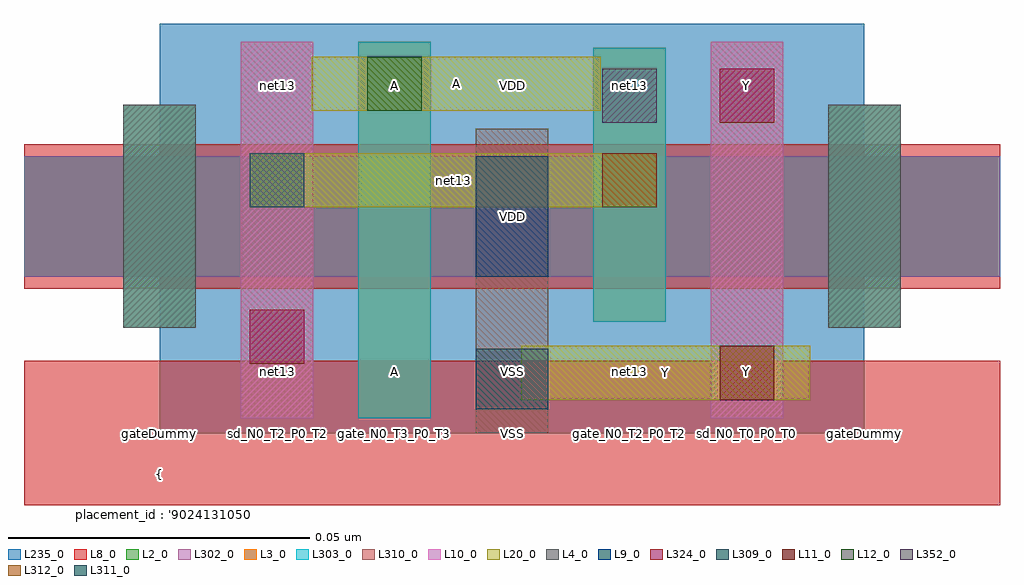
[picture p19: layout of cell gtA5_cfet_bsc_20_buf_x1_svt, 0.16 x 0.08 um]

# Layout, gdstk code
import gdstk
lib = gdstk.Library(unit=1e-6, precision=2.5e-10)
def R(c, l, rs):  # rectangles x0, y0, x1, y1
    for r in rs: c.add(gdstk.rectangle(r[:2], r[2:], *l))
L2_0 = (2, 0)
L3_0 = (3, 0)
L4_0 = (4, 0)
L8_0 = (8, 0)
L9_0 = (9, 0)
L10_0 = (10, 0)
L11_0 = (11, 0)
L12_0 = (12, 0)
L20_0 = (20, 0)
L235_0 = (235, 0)
L302_0 = (302, 0)
L303_0 = (303, 0)
L309_0 = (309, 0)
L310_0 = (310, 0)
L311_0 = (311, 0)
L312_0 = (312, 0)
L324_0 = (324, 0)
L352_0 = (352, 0)

gta5_cfet_bsc_20_buf_x1_ = lib.new_cell('gtA5_cfet_bsc_20_buf_x1_svt')
R(gta5_cfet_bsc_20_buf_x1_, L2_0, [(-0.0225,0.026,0.1395,0.046)])
R(gta5_cfet_bsc_20_buf_x1_, L3_0, [(0.033,0.0025,0.045,0.065), (-0.006,0.0175,0.006,0.0545), (0.111,0.0175,0.123,0.0545), (0.072,0.0185,0.084,0.064)])
R(gta5_cfet_bsc_20_buf_x1_, L4_0, [(-0.006,0.0175,0.006,0.0545), (0.111,0.0175,0.123,0.0545)])
R(gta5_cfet_bsc_20_buf_x1_, L8_0, [(-0.0225,-0.012,0.1395,0.012), (-0.0225,0.024,0.1395,0.048)])
R(gta5_cfet_bsc_20_buf_x1_, L9_0, [(0.0525,0.026,0.0645,0.046)])
R(gta5_cfet_bsc_20_buf_x1_, L10_0, [(0.0135,0.0025,0.0255,0.065), (0.0915,0.0025,0.1035,0.065)])
R(gta5_cfet_bsc_20_buf_x1_, L11_0, [(0.093,0.0055,0.102,0.0145)])
R(gta5_cfet_bsc_20_buf_x1_, L12_0, [(0.0345,0.0535,0.0435,0.0625)])
R(gta5_cfet_bsc_20_buf_x1_, L20_0, [(0.06,0.0055,0.108,0.0145), (0.015,0.0375,0.0825,0.0465), (0.0253,0.0535,0.0732,0.0625)])
R(gta5_cfet_bsc_20_buf_x1_, L235_0, [(0,0,0.117,0.068)])
R(gta5_cfet_bsc_20_buf_x1_, L302_0, [(-0.0225,0.026,0.1395,0.046)])
R(gta5_cfet_bsc_20_buf_x1_, L303_0, [(0.033,0.0025,0.045,0.065), (-0.006,0.0175,0.006,0.0545), (0.111,0.0175,0.123,0.0545), (0.072,0.0185,0.084,0.064)])
R(gta5_cfet_bsc_20_buf_x1_, L309_0, [(0.0525,0.004,0.0645,0.014)])
R(gta5_cfet_bsc_20_buf_x1_, L310_0, [(0.0525,0,0.0645,0.0505), (0.0135,0.0025,0.0255,0.065), (0.0915,0.0025,0.1035,0.065)])
R(gta5_cfet_bsc_20_buf_x1_, L311_0, [(0.015,0.0375,0.024,0.0465)])
R(gta5_cfet_bsc_20_buf_x1_, L312_0, [(0.0735,0.0375,0.0825,0.0465)])
R(gta5_cfet_bsc_20_buf_x1_, L324_0, [(0.015,0.0115,0.024,0.0205), (0.093,0.0515,0.102,0.0605)])
R(gta5_cfet_bsc_20_buf_x1_, L352_0, [(0.0735,0.0515,0.0825,0.0605)])
gta5_cfet_bsc_20_buf_x1_.add(gdstk.Label('net13', (0.0488,0.042), layer=100, texttype=100))
gta5_cfet_bsc_20_buf_x1_.add(gdstk.Label('gateDummy', (0,0), layer=103, texttype=103))
gta5_cfet_bsc_20_buf_x1_.add(gdstk.Label('sd_N0_T2_P0_T2', (0.0195,0), layer=103, texttype=103))
gta5_cfet_bsc_20_buf_x1_.add(gdstk.Label('gate_N0_T3_P0_T3', (0.039,0), layer=103, texttype=103))
gta5_cfet_bsc_20_buf_x1_.add(gdstk.Label('sd_N0_VSS_P0_VDD', (0.0585,0), layer=103, texttype=103))
gta5_cfet_bsc_20_buf_x1_.add(gdstk.Label('gate_N0_T2_P0_T2', (0.078,0), layer=103, texttype=103))
gta5_cfet_bsc_20_buf_x1_.add(gdstk.Label('sd_N0_T0_P0_T0', (0.0975,0), layer=103, texttype=103))
gta5_cfet_bsc_20_buf_x1_.add(gdstk.Label('gateDummy', (0.117,0), layer=103, texttype=103))
gta5_cfet_bsc_20_buf_x1_.add(gdstk.Label('}', (0,-0.0742), layer=104, texttype=104))
gta5_cfet_bsc_20_buf_x1_.add(gdstk.Label('  power : None', (0,-0.0675), layer=104, texttype=104))
gta5_cfet_bsc_20_buf_x1_.add(gdstk.Label('  performance : None', (0,-0.0607), layer=104, texttype=104))
gta5_cfet_bsc_20_buf_x1_.add(gdstk.Label("  solution_hash : '17394571517009305536'", (0,-0.054), layer=104, texttype=104))
gta5_cfet_bsc_20_buf_x1_.add(gdstk.Label('  number_m2 : 0', (0,-0.0473), layer=104, texttype=104))
gta5_cfet_bsc_20_buf_x1_.add(gdstk.Label('  number_m1 : 0', (0,-0.0405), layer=104, texttype=104))
gta5_cfet_bsc_20_buf_x1_.add(gdstk.Label('  number_m0cuts : 0', (0,-0.0338), layer=104, texttype=104))
gta5_cfet_bsc_20_buf_x1_.add(gdstk.Label('  number_m0 : 3', (0,-0.027), layer=104, texttype=104))
gta5_cfet_bsc_20_buf_x1_.add(gdstk.Label("  solution_number : '0000'", (0,-0.0203), layer=104, texttype=104))
gta5_cfet_bsc_20_buf_x1_.add(gdstk.Label("  placement_id : '9024131050041494301'", (0,-0.0135), layer=104, texttype=104))
gta5_cfet_bsc_20_buf_x1_.add(gdstk.Label('{', (0,-0.0067), layer=104, texttype=104))
gta5_cfet_bsc_20_buf_x1_.add(gdstk.Label('net13', (0.0195,0.0103), layer=105, texttype=105))
gta5_cfet_bsc_20_buf_x1_.add(gdstk.Label('A', (0.039,0.0103), layer=105, texttype=105))
gta5_cfet_bsc_20_buf_x1_.add(gdstk.Label('VSS', (0.0585,0.0103), layer=105, texttype=105))
gta5_cfet_bsc_20_buf_x1_.add(gdstk.Label('net13', (0.078,0.0103), layer=105, texttype=105))
gta5_cfet_bsc_20_buf_x1_.add(gdstk.Label('Y', (0.0975,0.0103), layer=105, texttype=105))
gta5_cfet_bsc_20_buf_x1_.add(gdstk.Label('net13', (0.0195,0.0578), layer=105, texttype=105))
gta5_cfet_bsc_20_buf_x1_.add(gdstk.Label('A', (0.039,0.0578), layer=105, texttype=105))
gta5_cfet_bsc_20_buf_x1_.add(gdstk.Label('VDD', (0.0585,0.0578), layer=105, texttype=105))
gta5_cfet_bsc_20_buf_x1_.add(gdstk.Label('net13', (0.078,0.0578), layer=105, texttype=105))
gta5_cfet_bsc_20_buf_x1_.add(gdstk.Label('Y', (0.0975,0.0578), layer=105, texttype=105))
gta5_cfet_bsc_20_buf_x1_.add(gdstk.Label('VSS', (0.0585,0), layer=8, texttype=0))
gta5_cfet_bsc_20_buf_x1_.add(gdstk.Label('VDD', (0.0585,0.036), layer=8, texttype=0))
gta5_cfet_bsc_20_buf_x1_.add(gdstk.Label('Y', (0.084,0.01), layer=20, texttype=251))
gta5_cfet_bsc_20_buf_x1_.add(gdstk.Label('A', (0.0493,0.058), layer=20, texttype=251))
gta5_cfet_bsc_20_buf_x1_.add(gdstk.Label('gtA5_cfet_bsc_20nm_buf_x1_rvt_0', (0,0), layer=235, texttype=0))

lib.write_gds('gtA5_cfet_bsc_20_buf_x1_svt.gds')
